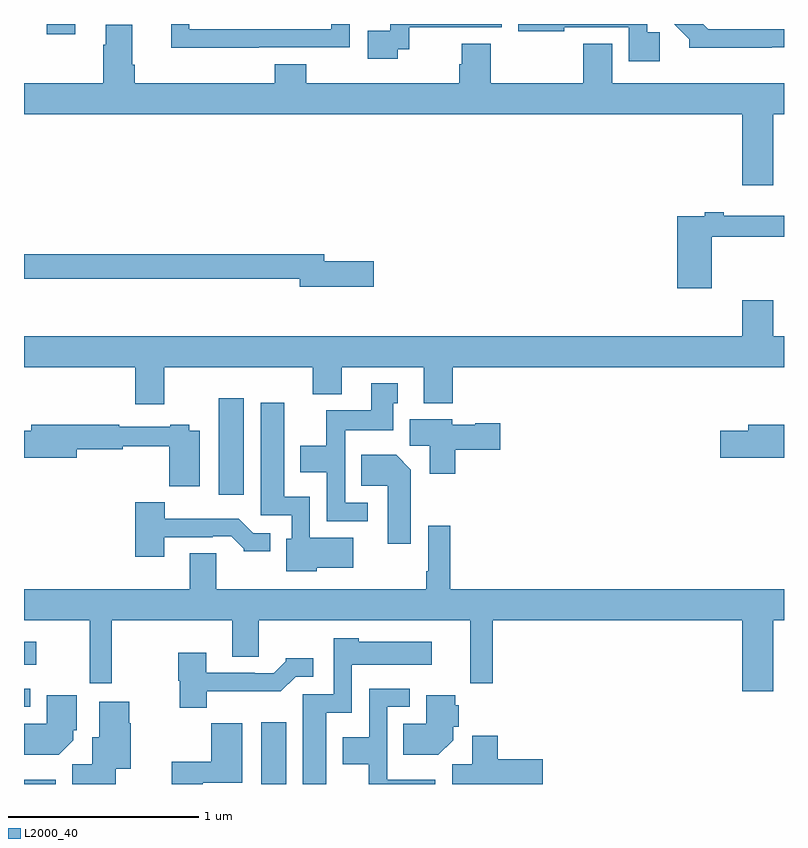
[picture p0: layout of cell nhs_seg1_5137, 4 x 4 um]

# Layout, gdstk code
import gdstk
lib = gdstk.Library(unit=1e-6, precision=1e-09)
def R(c, l, rs):  # rectangles x0, y0, x1, y1
    for r in rs: c.add(gdstk.rectangle(r[:2], r[2:], *l))
def P(c, l, *ps):  # polygons
    for p in ps: c.add(gdstk.Polygon(p, *l))
L2000_40 = (2000, 40)

nhs_seg1_5137 = lib.new_cell('nhs_seg1_5137')
R(nhs_seg1_5137, L2000_40, [(389,556.199,389.167,556.222), (390.248,556.199,390.379,556.525), (389,556.605,389.032,556.701), (389,556.826,389.065,556.948), (390.026,557.721,390.157,558.229), (389.121,560.145,389.269,560.199)])
P(nhs_seg1_5137, L2000_40, [(392.345,560.155),(392.28,560.155),(392.28,560.199),(391.6,560.199),(391.6,560.162),(391.843,560.162),(391.843,560.181),(392.184,560.181),(392.184,560.004),(392.345,560.004)],
  [(390.966,560.067),(391.028,560.067),(391.028,560.181),(391.515,560.181),(391.515,560.199),(390.927,560.199),(390.927,560.163),(390.81,560.163),(390.81,560.016),(390.966,560.016)],
  [(390.236,560.076),(390.714,560.076),(390.714,560.199),(390.618,560.199),(390.618,560.172),(389.871,560.172),(389.871,560.199),(389.774,560.199),(389.774,560.075),(390.236,560.075)],
  [(392.936,560.076),(393,560.076),(393,560.172),(392.601,560.172),(392.574,560.199),(392.422,560.199),(392.502,560.119),(392.502,560.075),(392.936,560.075)],
  [(392.944,559.724),(393,559.724),(393,559.888),(392.095,559.888),(392.095,560.096),(391.943,560.096),(391.943,559.888),(391.457,559.888),(391.457,560.096),(391.304,560.096),(391.304,559.986),(391.292,559.986),(391.292,559.888),(390.485,559.888),(390.485,559.987),(390.32,559.987),(390.32,559.888),(389.582,559.888),(389.582,559.984),(389.569,559.984),(389.569,560.196),(389.429,560.196),(389.429,560.09),(389.417,560.09),(389.417,559.888),(389,559.888),(389,559.724),(392.78,559.724),(392.78,559.35),(392.944,559.35)],
  [(392.621,559.08),(393,559.08),(393,559.189),(392.684,559.189),(392.684,559.208),(392.584,559.208),(392.584,559.188),(392.438,559.188),(392.438,558.807),(392.621,558.807)],
  [(390.841,558.95),(390.58,558.95),(390.58,558.986),(389,558.986),(389,558.858),(390.452,558.858),(390.452,558.815),(390.841,558.815)],
  [(389.737,558.392),(390.521,558.392),(390.521,558.251),(390.673,558.251),(390.673,558.392),(391.103,558.392),(391.103,558.203),(391.256,558.203),(391.256,558.392),(393,558.392),(393,558.556),(392.944,558.556),(392.944,558.745),(392.78,558.745),(392.78,558.556),(389,558.556),(389,558.392),(389.585,558.392),(389.585,558.198),(389.737,558.198)],
  [(390.808,557.679),(390.69,557.679),(390.69,558.062),(390.943,558.062),(390.943,558.204),(390.967,558.204),(390.967,558.307),(390.827,558.307),(390.827,558.166),(390.592,558.166),(390.592,557.98),(390.455,557.98),(390.455,557.84),(390.594,557.84),(390.594,557.583),(390.808,557.583)],
  [(390.54,557.336),(390.733,557.336),(390.733,557.494),(390.504,557.494),(390.504,557.71),(390.37,557.71),(390.37,558.205),(390.245,558.205),(390.245,557.613),(390.408,557.613),(390.408,557.49),(390.38,557.49),(390.38,557.318),(390.54,557.318)],
  [(391.271,557.957),(391.507,557.957),(391.507,558.099),(391.374,558.099),(391.374,558.091),(391.254,558.091),(391.254,558.118),(391.031,558.118),(391.031,557.98),(391.136,557.98),(391.136,557.832),(391.271,557.832)],
  [(393,558.091),(392.813,558.091),(392.813,558.057),(392.664,558.057),(392.664,557.915),(393,557.915)],
  [(389.926,558.058),(389.871,558.058),(389.871,558.091),(389.771,558.091),(389.771,558.078),(389.501,558.078),(389.501,558.091),(389.039,558.091),(389.039,558.057),(389,558.057),(389,557.915),(389.278,557.915),(389.278,557.962),(389.52,557.962),(389.52,557.977),(389.764,557.977),(389.764,557.765),(389.926,557.765)],
  [(391.036,557.854),(390.958,557.932),(390.775,557.932),(390.775,557.768),(390.914,557.768),(390.914,557.463),(391.036,557.463)],
  [(389.737,557.499),(389.993,557.499),(389.993,557.502),(390.092,557.502),(390.156,557.438),(390.156,557.423),(390.295,557.423),(390.295,557.52),(390.207,557.52),(390.131,557.596),(389.74,557.596),(389.74,557.683),(389.585,557.683),(389.585,557.394),(389.737,557.394)],
  [(392.944,557.06),(393,557.06),(393,557.224),(391.244,557.224),(391.244,557.557),(391.128,557.557),(391.128,557.32),(391.116,557.32),(391.116,557.224),(390.013,557.224),(390.013,557.414),(389.873,557.414),(389.873,557.224),(389,557.224),(389,557.06),(389.347,557.06),(389.347,556.728),(389.461,556.728),(389.461,557.06),(390.095,557.06),(390.095,556.87),(390.235,556.87),(390.235,557.06),(391.349,557.06),(391.349,556.728),(391.466,556.728),(391.466,557.06),(392.78,557.06),(392.78,556.686),(392.944,556.686)],
  [(390.592,556.574),(390.726,556.574),(390.726,556.826),(391.147,556.826),(391.147,556.948),(390.762,556.948),(390.762,556.966),(390.63,556.966),(390.63,556.671),(390.467,556.671),(390.467,556.199),(390.592,556.199)],
  [(389.962,556.686),(390.351,556.686),(390.429,556.764),(390.523,556.764),(390.523,556.861),(390.378,556.861),(390.378,556.846),(390.314,556.782),(390.215,556.782),(390.215,556.785),(389.959,556.785),(389.959,556.891),(389.812,556.891),(389.812,556.743),(389.819,556.743),(389.819,556.601),(389.962,556.601)],
  [(391.165,556.222),(390.912,556.222),(390.912,556.605),(391.03,556.605),(391.03,556.701),(390.816,556.701),(390.816,556.444),(390.677,556.444),(390.677,556.304),(390.814,556.304),(390.814,556.199),(391.165,556.199)],
  [(389.26,556.43),(389.26,556.482),(389.278,556.482),(389.278,556.666),(389.12,556.666),(389.12,556.516),(389,556.516),(389,556.352),(389.182,556.352)],
  [(391.258,556.43),(391.258,556.5),(391.289,556.5),(391.289,556.614),(391.271,556.614),(391.271,556.666),(391.118,556.666),(391.118,556.516),(390.997,556.516),(390.997,556.352),(391.18,556.352)],
  [(389.482,556.28),(389.562,556.28),(389.562,556.52),(389.554,556.52),(389.554,556.633),(389.396,556.633),(389.396,556.444),(389.36,556.444),(389.36,556.304),(389.255,556.304),(389.255,556.199),(389.482,556.199)],
  [(389.94,556.205),(390.148,556.205),(390.148,556.519),(389.986,556.519),(389.986,556.315),(389.778,556.315),(389.778,556.199),(389.94,556.199)],
  [(391.729,556.328),(391.493,556.328),(391.493,556.453),(391.358,556.453),(391.358,556.304),(391.253,556.304),(391.253,556.199),(391.729,556.199)])

lib.write_gds('nhs_seg1_5137.gds')
